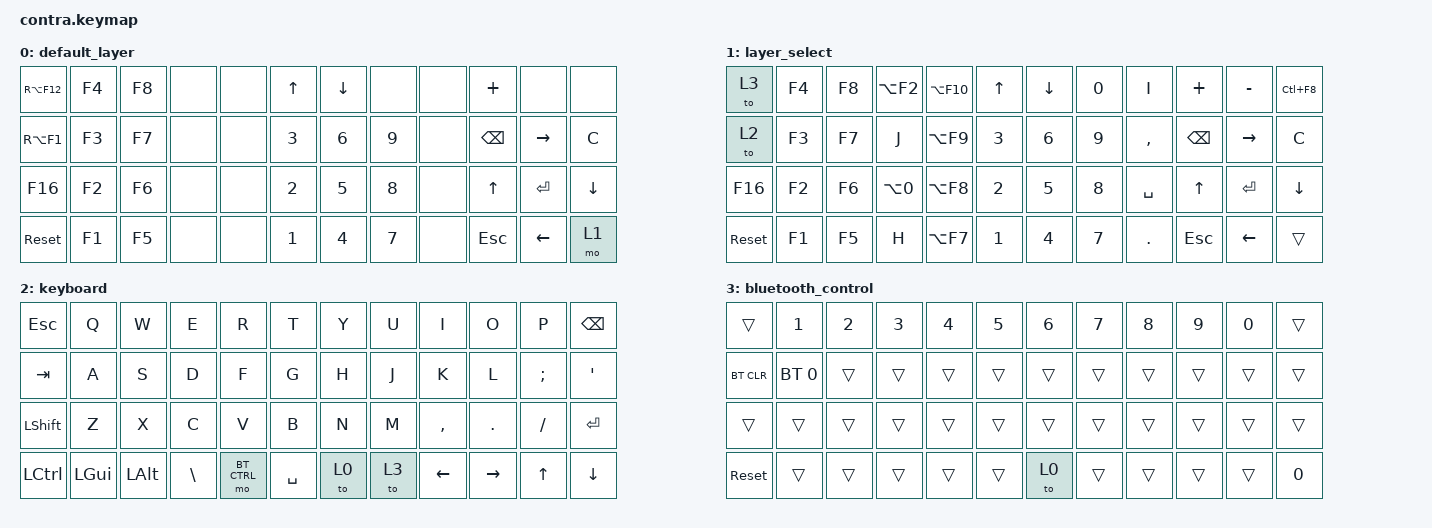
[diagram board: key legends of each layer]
/*
 * Copyright (c) 2021 The ZMK Contributors
 *
 * SPDX-License-Identifier: MIT
 */

#include <behaviors.dtsi>
#include <dt-bindings/zmk/keys.h>
#include <dt-bindings/zmk/bt.h>

#define DEFAULT  0
#define LAYER_SELECT 1
#define QWERTY 2
#define BT_CTRL  3

/ {
    macros {
        tv_rst: tv_rst {
            label = "tv_rst";
            compatible = "zmk,behavior-macro";
            #binding-cells = <0>;
            bindings
                = <&macro_tap &kp H>
                , <&macro_wait_time 1000>
                , <&macro_tap &kp LA(F16)>
                ;
        };
        ch_1: channel_1 {
            label = "ch_1";
            compatible = "zmk,behavior-macro";
            #binding-cells = <0>;
            bindings
                = <&macro_tap &kp H>
                , <&macro_wait_time 1000>
                , <&macro_tap &kp N1>
                ;
        };
        ch_2: channel_2 {
            label = "ch_2";
            compatible = "zmk,behavior-macro";
            #binding-cells = <0>;
            bindings
                = <&macro_tap &kp H>
                , <&macro_wait_time 1000>
                , <&macro_tap &kp N2>
                ;
        };
        ch_3: channel_3 {
            label = "ch_3";
            compatible = "zmk,behavior-macro";
            #binding-cells = <0>;
            bindings
                = <&macro_tap &kp H>
                , <&macro_wait_time 1000>
                , <&macro_tap &kp N3>
                ;
        };
        ch_4: channel_4 {
            label = "ch_4";
            compatible = "zmk,behavior-macro";
            #binding-cells = <0>;
            bindings
                = <&macro_tap &kp H>
                , <&macro_wait_time 1000>
                , <&macro_tap &kp N4>
                ;
        };
        ch_5: channel_5 {
            label = "ch_5";
            compatible = "zmk,behavior-macro";
            #binding-cells = <0>;
            bindings
                = <&macro_tap &kp H>
                , <&macro_wait_time 1000>
                , <&macro_tap &kp N5>
                ;
        };
        ch_6: channel_6 {
            label = "ch_6";
            compatible = "zmk,behavior-macro";
            #binding-cells = <0>;
            bindings
                = <&macro_tap &kp H>
                , <&macro_wait_time 1000>
                , <&macro_tap &kp N6>
                ;
        };
        ch_7: channel_7 {
            label = "ch_7";
            compatible = "zmk,behavior-macro";
            #binding-cells = <0>;
            bindings
                = <&macro_tap &kp H>
                , <&macro_wait_time 1000>
                , <&macro_tap &kp N7>
                ;
        };
        ch_8: channel_8 {
            label = "ch_8";
            compatible = "zmk,behavior-macro";
            #binding-cells = <0>;
            bindings
                = <&macro_tap &kp H>
                , <&macro_wait_time 1000>
                , <&macro_tap &kp N8>
                ;
        };
    };

    keymap {
        compatible = "zmk,keymap";

        default_layer {
            bindings = <
    &kp RA(F12) &kp F4      &kp F8       &none        &none        &kp UP     &kp DOWN   &none     &none      &kp PLUS    &none     &none
    &kp RA(F1) &kp F3       &kp F7       &none        &none        &kp N3     &kp N6     &kp N9    &none      &kp BSPC    &kp RIGHT &kp C
    &kp F16    &kp F2       &kp F6       &none        &none        &kp N2     &kp N5     &kp N8    &none      &kp UP      &kp ENTER &kp DOWN
    &sys_reset &kp F1       &kp F5       &none        &none        &kp N1     &kp N4     &kp N7    &none      &kp ESC     &kp LEFT  &mo 1
            >;
        };

        layer_select {
            bindings = <
    &to 3      &kp F4       &kp F8       &kp LA(F2)   &kp LA(F10)  &kp UP     &kp DOWN   &kp N0    &kp I      &kp PLUS    &kp MINUS &kp LC(F8)
    &to 2      &kp F3       &kp F7       &kp J        &kp LA(F9)   &kp N3     &kp N6     &kp N9    &kp COMMA  &kp BSPC    &kp RIGHT &kp C
    &kp F16    &kp F2       &kp F6       &kp LA(N0)   &kp LA(F8)   &kp N2     &kp N5     &kp N8    &kp SPACE  &kp UP      &kp ENTER &kp DOWN
    &sys_reset &kp F1       &kp F5       &kp H        &kp LA(F7)   &kp N1     &kp N4     &kp N7    &kp DOT    &kp ESC     &kp LEFT  &trans
                >;
        };

        keyboard {
            bindings = <
    &kp ESC    &kp Q        &kp W        &kp E        &kp R        &kp T       &kp Y     &kp U      &kp I       &kp O      &kp P     &kp BSPC
    &kp TAB    &kp A        &kp S        &kp D        &kp F        &kp G       &kp H     &kp J      &kp K       &kp L      &kp SEMI  &kp SQT
    &kp LSHFT  &kp Z        &kp X        &kp C        &kp V        &kp B       &kp N     &kp M      &kp COMMA   &kp DOT    &kp FSLH  &kp ENTER
    &kp LCTRL  &kp LGUI     &kp LALT     &kp BSLH     &mo BT_CTRL  &kp SPACE   &to 0     &to 3      &kp LEFT    &kp RIGHT  &kp UP    &kp DOWN
                >;
        };

        bluetooth_control {
            bindings = <
    &trans     &kp N1       &kp N2       &kp N3       &kp N4       &kp N5      &kp N6    &kp N7     &kp N8      &kp N9     &kp N0    &trans
    &bt BT_CLR &bt BT_SEL 0 &trans       &trans       &trans       &trans      &trans    &trans     &trans      &trans     &trans    &trans
    &trans     &trans       &trans       &trans       &trans       &trans      &trans    &trans     &trans      &trans     &trans    &trans
    &sys_reset &trans       &trans       &trans       &trans       &trans      &to 0     &trans     &trans      &trans     &trans    &kp N0
            >;
        };
    };
};
